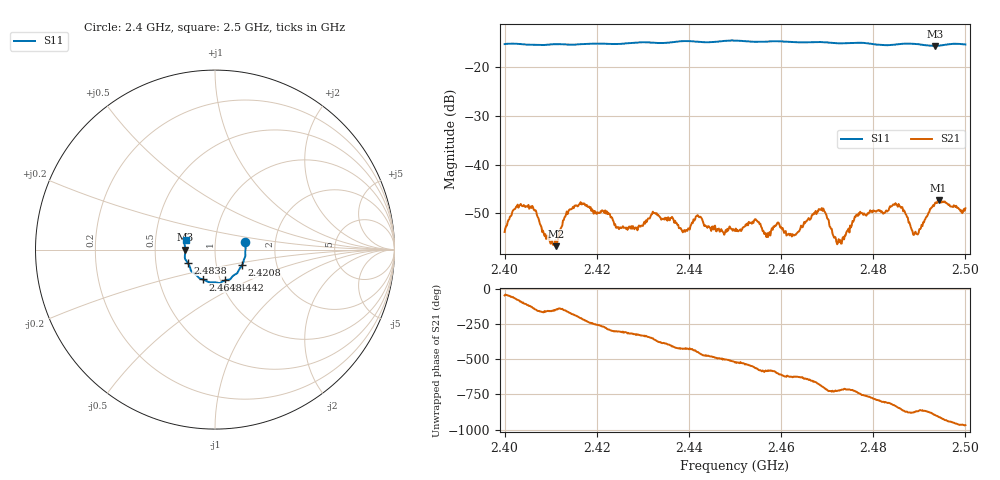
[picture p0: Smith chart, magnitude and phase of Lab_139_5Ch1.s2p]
# Hz S RI R
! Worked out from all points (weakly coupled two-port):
!   601 points, 2.4 GHz to 2.5 GHz, reference 50 ohm
!   highest |S21| = -47.34 dB at 2.4942 GHz (marker M1); lowest = -56.7 dB at 2.4112 GHz (marker M2)
!   lowest |S11| = -15.6 dB at 2.4933 GHz (marker M3), VSWR 1.40, Z = 35.8 + j0.0368 ohm
!   |S11| at or under -10 dB: start of sweep to end of sweep
!   S12 and S22 are empty: the file has one direction only
!   S11 on the Smith chart (normalised r, x): 2.4 GHz: 1.40, +0.12; 2.4208 GHz: 1.33, -0.24; 2.4442 GHz: 1.05, -0.37; 2.4648 GHz: 0.83, -0.28; 2.4838 GHz: 0.73, -0.11; 2.5 GHz: 0.72, +0.08
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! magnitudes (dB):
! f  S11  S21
! 2.4 GHz  -15.2  -53.8
! 2.4023 GHz  -15.2  -49.0
! 2.4057 GHz  -15.4  -48.6
! 2.4112 GHz  -15.3  -56.7
! 2.4135 GHz  -15.3  -49.6
! 2.4167 GHz  -15.3  -48.1
! 2.4208 GHz  -15.2  -49.6
! 2.4248 GHz  -15.2  -53.2
! 2.4333 GHz  -15.0  -50.3
! 2.4442 GHz  -14.9  -52.6
! 2.45 GHz  -14.5  -53.6
! 2.4648 GHz  -14.9  -52.4
! 2.4667 GHz  -14.8  -50.4
! 2.4692 GHz  -14.8  -49.0
! 2.4727 GHz  -15.1  -55.9
! 2.4768 GHz  -15.0  -50.0
! 2.4833 GHz  -15.5  -49.3
! 2.4838 GHz  -15.4  -48.6
! 2.4892 GHz  -15.2  -53.8
! 2.4933 GHz  -15.6  -48.1
! 2.4942 GHz  -15.6  -47.3
! 2.5 GHz  -15.3  -48.9
